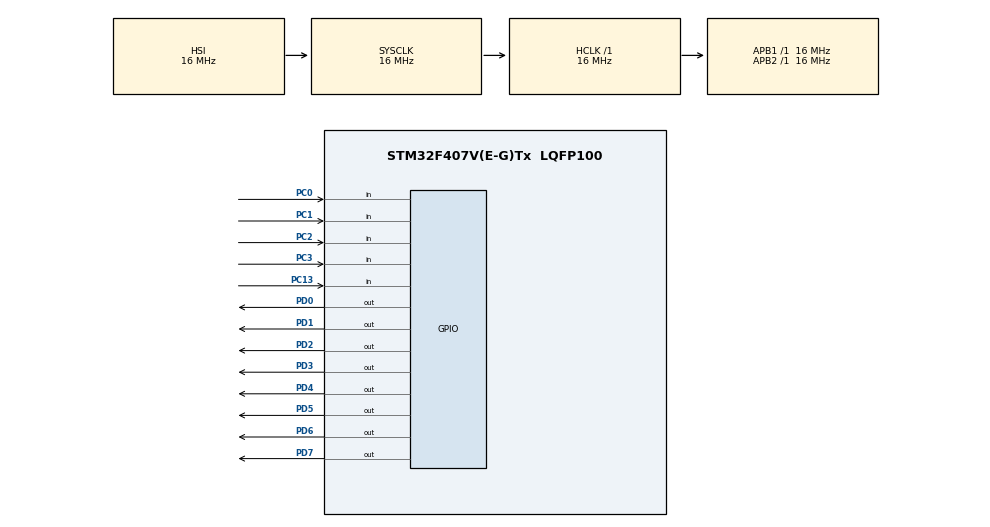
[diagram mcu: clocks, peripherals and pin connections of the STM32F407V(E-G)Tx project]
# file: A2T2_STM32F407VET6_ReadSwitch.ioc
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Mcu.Family=STM32F4
Mcu.Name=STM32F407V(E-G)Tx
Mcu.Package=LQFP100
NVIC.PriorityGroup=NVIC_PRIORITYGROUP_4
PC0.GPIO_PuPd=GPIO_PULLDOWN
PC0.Signal=GPIO_Input
PC1.GPIO_PuPd=GPIO_PULLDOWN
PC1.Signal=GPIO_Input
PC13-ANTI_TAMP.GPIO_PuPd=GPIO_PULLDOWN
PC13-ANTI_TAMP.Signal=GPIO_Input
PC2.GPIO_PuPd=GPIO_PULLDOWN
PC2.Signal=GPIO_Input
PC3.GPIO_PuPd=GPIO_PULLDOWN
PC3.Signal=GPIO_Input
PD0.Signal=GPIO_Output
PD1.Signal=GPIO_Output
PD2.Signal=GPIO_Output
PD3.Signal=GPIO_Output
PD4.Signal=GPIO_Output
PD5.Signal=GPIO_Output
PD6.Signal=GPIO_Output
PD7.Signal=GPIO_Output
ProjectManager.HeapSize=0x200
ProjectManager.StackSize=0x400
ProjectManager.TargetToolchain=STM32CubeIDE
RCC.AHBFreq_Value=16000000
RCC.APB1Freq_Value=16000000
RCC.APB2Freq_Value=16000000
RCC.CortexFreq_Value=16000000
RCC.HSE_VALUE=25000000
RCC.HSI_VALUE=16000000
RCC.LSE_VALUE=32768
RCC.SYSCLKFreq_VALUE=16000000
RCC.VCOOutputFreq_Value=192000000
board=custom

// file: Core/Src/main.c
/* USER CODE BEGIN Header */
/**
  ******************************************************************************
  * @file           : main.c
  * @brief          : Main program body
  ******************************************************************************
  * @attention
  *
  * Copyright (c) 2022 STMicroelectronics.
  * All rights reserved.
  *
  * This software is licensed under terms that can be found in the LICENSE file
  * in the root directory of this software component.
  * If no LICENSE file comes with this software, it is provided AS-IS.
  *
  ******************************************************************************
  */
/* USER CODE END Header */
#include "main.h"

/* USER CODE BEGIN PV */
int selectedTimeDelay = 125; // Add time function with linear function
int buttonState;            // the current reading from the push button pin
int lastButtonState = 0;  // the previous reading from the push button pin
unsigned long debounceDelay = 50;    // the debounce time; increase if the output flickers
unsigned long lastDebounceTime = 0;  // the last time the output pin was toggled
/* USER CODE END PV */

void SystemClock_Config(void);
static void MX_GPIO_Init(void);
/* USER CODE BEGIN PFP */
void pushButtonRead(int);
/* USER CODE END PFP */

/* USER CODE BEGIN 0 */

//Push Button pin read function with debouncing checking
void pushButtonRead(int pinStatus){
  int switchState;
  // If the switch changed, due to noise or pressing:
  if (pinStatus != lastButtonState) {
	  // reset the debouncing timer
	  lastDebounceTime = HAL_GetTick();
  }
  if ((HAL_GetTick() - lastDebounceTime) > debounceDelay) {
	  // whatever the reading is at, it's been there for longer than the debounce
	  // delay, so take it as the actual current state
	  if (pinStatus != buttonState) {
		buttonState = pinStatus;

		// only read the DIP switch if the push button state is HIGH
		if (buttonState) {
			switchState = (GPIOC->IDR & 0xF);
			selectedTimeDelay = (-58.3 * switchState) + 1000;
		}
	  }
  }
  // save the reading. Next time through the loop, it'll be the lastButtonState:
  lastButtonState = pinStatus;
}
/* USER CODE END 0 */

int main(void)
{

  /* MCU Configuration--------------------------------------------------------*/

  /* Reset of all peripherals, Initializes the Flash interface and the Systick. */
  HAL_Init();

  /* Configure the system clock */
  SystemClock_Config();

  /* Initialize all configured peripherals */
  MX_GPIO_Init();

  /* Infinite loop */
  while (1)
  {
	  // Move left
	  for (int i = 0; i <= 7; i++) {
		  GPIOD->ODR = (1 << i);	// Turn Off the LED at each position i
		  pushButtonRead(GPIOC->IDR & (1<<13)); // Call push button reading function with debounce checking
		  HAL_Delay(selectedTimeDelay); // Creates a delay of selectedTimeDelay
	  }

	  // Move right
	  for (int i = 7; i >= 0; i--) {
		  GPIOD->ODR = (1 << i); // Turn Off the LED at each position i
		  pushButtonRead(GPIOC->IDR & (1<<13)); // Call push button reading function with debounce checking
		  HAL_Delay(selectedTimeDelay); // Creates a delay of selectedTimeDelay
	  }
  }
}

void SystemClock_Config(void)
{
  RCC_OscInitTypeDef RCC_OscInitStruct = {0};
  RCC_ClkInitTypeDef RCC_ClkInitStruct = {0};

  /** Configure the main internal regulator output voltage
  */
  __HAL_RCC_PWR_CLK_ENABLE();
  __HAL_PWR_VOLTAGESCALING_CONFIG(PWR_REGULATOR_VOLTAGE_SCALE1);

  /** Initializes the RCC Oscillators according to the specified parameters
  * in the RCC_OscInitTypeDef structure.
  */
  RCC_OscInitStruct.OscillatorType = RCC_OSCILLATORTYPE_HSI;
  RCC_OscInitStruct.HSIState = RCC_HSI_ON;
  RCC_OscInitStruct.HSICalibrationValue = RCC_HSICALIBRATION_DEFAULT;
  RCC_OscInitStruct.PLL.PLLState = RCC_PLL_NONE;
  if (HAL_RCC_OscConfig(&RCC_OscInitStruct) != HAL_OK)
  {
    Error_Handler();
  }

  /** Initializes the CPU, AHB and APB buses clocks
  */
  RCC_ClkInitStruct.ClockType = RCC_CLOCKTYPE_HCLK|RCC_CLOCKTYPE_SYSCLK
                              |RCC_CLOCKTYPE_PCLK1|RCC_CLOCKTYPE_PCLK2;
  RCC_ClkInitStruct.SYSCLKSource = RCC_SYSCLKSOURCE_HSI;
  RCC_ClkInitStruct.AHBCLKDivider = RCC_SYSCLK_DIV1;
  RCC_ClkInitStruct.APB1CLKDivider = RCC_HCLK_DIV1;
  RCC_ClkInitStruct.APB2CLKDivider = RCC_HCLK_DIV1;

  if (HAL_RCC_ClockConfig(&RCC_ClkInitStruct, FLASH_LATENCY_0) != HAL_OK)
  {
    Error_Handler();
  }
}

static void MX_GPIO_Init(void)
{
  GPIO_InitTypeDef GPIO_InitStruct = {0};

  /* GPIO Ports Clock Enable */
  __HAL_RCC_GPIOC_CLK_ENABLE();
  __HAL_RCC_GPIOD_CLK_ENABLE();

  /*Configure GPIO pin Output Level */
  HAL_GPIO_WritePin(GPIOD, GPIO_PIN_0|GPIO_PIN_1|GPIO_PIN_2|GPIO_PIN_3
                          |GPIO_PIN_4|GPIO_PIN_5|GPIO_PIN_6|GPIO_PIN_7, GPIO_PIN_RESET);

  /*Configure GPIO pins : PC13 PC0 PC1 PC2
                           PC3 */
  GPIO_InitStruct.Pin = GPIO_PIN_13|GPIO_PIN_0|GPIO_PIN_1|GPIO_PIN_2
                          |GPIO_PIN_3;
  GPIO_InitStruct.Mode = GPIO_MODE_INPUT;
  GPIO_InitStruct.Pull = GPIO_PULLDOWN;
  HAL_GPIO_Init(GPIOC, &GPIO_InitStruct);

  /*Configure GPIO pins : PD0 PD1 PD2 PD3
                           PD4 PD5 PD6 PD7 */
  GPIO_InitStruct.Pin = GPIO_PIN_0|GPIO_PIN_1|GPIO_PIN_2|GPIO_PIN_3
                          |GPIO_PIN_4|GPIO_PIN_5|GPIO_PIN_6|GPIO_PIN_7;
  GPIO_InitStruct.Mode = GPIO_MODE_OUTPUT_PP;
  GPIO_InitStruct.Pull = GPIO_NOPULL;
  GPIO_InitStruct.Speed = GPIO_SPEED_FREQ_LOW;
  HAL_GPIO_Init(GPIOD, &GPIO_InitStruct);

}

void Error_Handler(void)
{
  __disable_irq();
  while (1)
  {
  }
}
